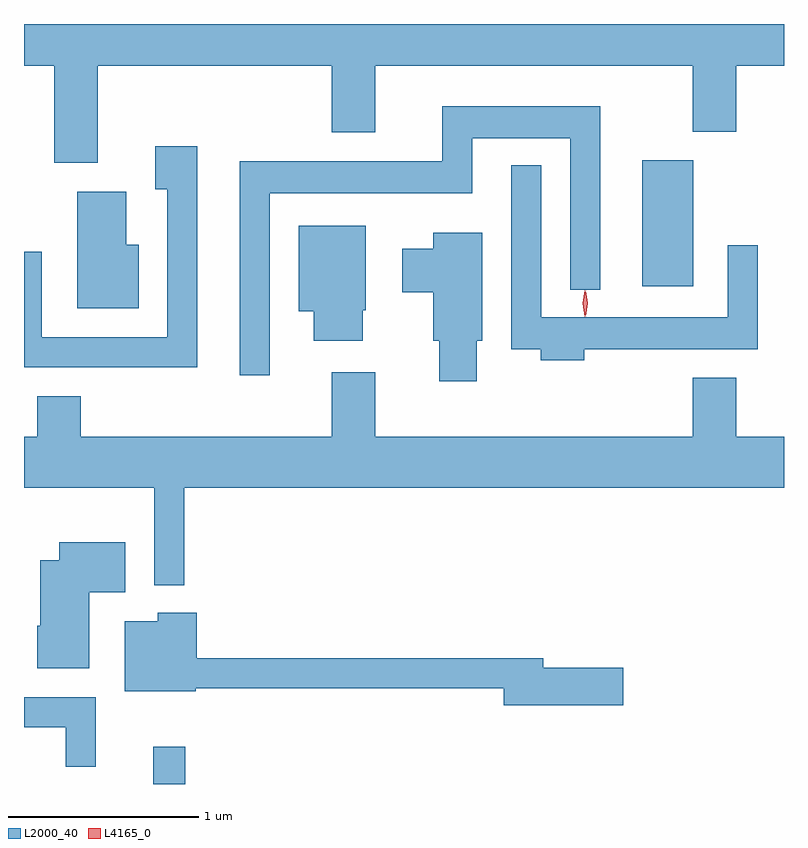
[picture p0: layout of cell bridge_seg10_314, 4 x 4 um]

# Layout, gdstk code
import gdstk
lib = gdstk.Library(unit=1e-6, precision=1e-09)
def R(c, l, rs):  # rectangles x0, y0, x1, y1
    for r in rs: c.add(gdstk.rectangle(r[:2], r[2:], *l))
def P(c, l, *ps):  # polygons
    for p in ps: c.add(gdstk.Polygon(p, *l))
L2000_40 = (2000, 40)
L4165_0 = (4165, 0)

bridge_seg10_314 = lib.new_cell('bridge_seg10_314')
R(bridge_seg10_314, L2000_40, [(1397.421,2150.097,1397.589,2150.293), (1399.996,2152.716,1400.264,2153.379)])
P(bridge_seg10_314, L2000_40, [(1397.129,2153.876),(1398.361,2153.876),(1398.361,2153.526),(1398.589,2153.526),(1398.589,2153.876),(1400.261,2153.876),(1400.261,2153.531),(1400.489,2153.531),(1400.489,2153.876),(1400.741,2153.876),(1400.741,2154.097),(1396.741,2154.097),(1396.741,2153.876),(1396.901,2153.876),(1396.901,2153.366),(1397.129,2153.366)],
  [(1398.034,2153.206),(1399.099,2153.206),(1399.099,2153.496),(1399.616,2153.496),(1399.616,2152.698),(1399.774,2152.698),(1399.774,2153.664),(1398.941,2153.664),(1398.941,2153.374),(1397.876,2153.374),(1397.876,2152.248),(1398.034,2152.248)],
  [(1397.654,2153.454),(1397.431,2153.454),(1397.431,2153.226),(1397.496,2153.226),(1397.496,2152.449),(1396.834,2152.449),(1396.834,2152.898),(1396.741,2152.898),(1396.741,2152.291),(1397.654,2152.291)],
  [(1399.689,2152.386),(1400.604,2152.386),(1400.604,2152.933),(1400.446,2152.933),(1400.446,2152.554),(1399.464,2152.554),(1399.464,2153.353),(1399.306,2153.353),(1399.306,2152.386),(1399.461,2152.386),(1399.461,2152.326),(1399.689,2152.326)],
  [(1397.344,2152.934),(1397.279,2152.934),(1397.279,2153.214),(1397.021,2153.214),(1397.021,2152.601),(1397.344,2152.601)],
  [(1398.524,2152.59),(1398.539,2152.59),(1398.539,2153.034),(1398.186,2153.034),(1398.186,2152.586),(1398.266,2152.586),(1398.266,2152.431),(1398.524,2152.431)],
  [(1399.124,2152.431),(1399.154,2152.431),(1399.154,2152.999),(1398.896,2152.999),(1398.896,2152.914),(1398.731,2152.914),(1398.731,2152.686),(1398.896,2152.686),(1398.896,2152.431),(1398.926,2152.431),(1398.926,2152.216),(1399.124,2152.216)],
  [(1397.584,2151.656),(1400.741,2151.656),(1400.741,2151.924),(1400.489,2151.924),(1400.489,2152.234),(1400.261,2152.234),(1400.261,2151.924),(1398.589,2151.924),(1398.589,2152.264),(1398.361,2152.264),(1398.361,2151.924),(1397.039,2151.924),(1397.039,2152.139),(1396.811,2152.139),(1396.811,2151.924),(1396.741,2151.924),(1396.741,2151.656),(1397.426,2151.656),(1397.426,2151.143),(1397.584,2151.143)],
  [(1397.084,2151.106),(1397.274,2151.106),(1397.274,2151.369),(1396.926,2151.369),(1396.926,2151.274),(1396.826,2151.274),(1396.826,2150.93),(1396.811,2150.93),(1396.811,2150.706),(1397.084,2150.706)],
  [(1399.894,2150.709),(1399.474,2150.709),(1399.474,2150.759),(1397.649,2150.759),(1397.649,2150.999),(1397.446,2150.999),(1397.446,2150.954),(1397.271,2150.954),(1397.271,2150.586),(1397.645,2150.586),(1397.645,2150.601),(1399.266,2150.601),(1399.266,2150.511),(1399.894,2150.511)],
  [(1397.119,2150.554),(1396.741,2150.554),(1396.741,2150.396),(1396.961,2150.396),(1396.961,2150.188),(1397.119,2150.188)])
P(bridge_seg10_314, L4165_0, [(1399.697,2152.559),(1399.697,2152.56),(1399.687,2152.626),(1399.697,2152.692),(1399.697,2152.693),(1399.698,2152.692),(1399.707,2152.626),(1399.698,2152.56)],
  [(1399.692,2152.557),(1399.692,2152.557),(1399.682,2152.627),(1399.692,2152.696),(1399.692,2152.696),(1399.693,2152.696),(1399.702,2152.627),(1399.693,2152.557)])

lib.write_gds('bridge_seg10_314.gds')
